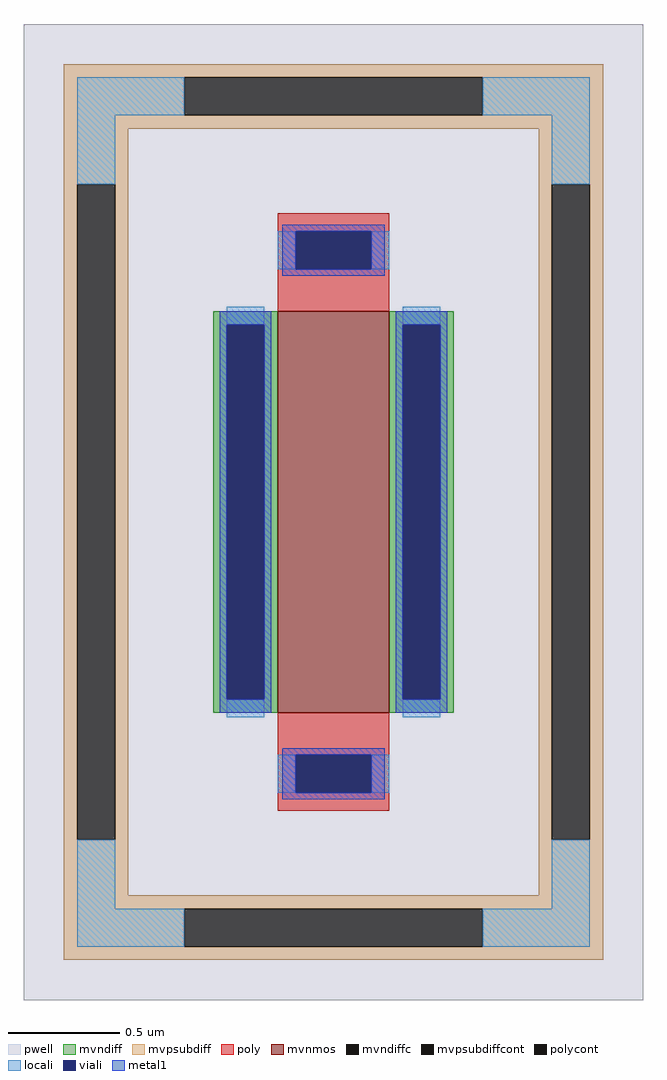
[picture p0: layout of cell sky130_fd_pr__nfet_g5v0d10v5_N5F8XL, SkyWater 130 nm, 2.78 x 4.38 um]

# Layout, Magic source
magic
tech sky130A
<< pwell >>
rect -139 -219 139 219
<< mvnmos >>
rect -25 -90 25 90
<< mvndiff >>
rect -54 84 -25 90
rect -54 -84 -48 84
rect -31 -84 -25 84
rect -54 -90 -25 -84
rect 25 84 54 90
rect 25 -84 31 84
rect 48 -84 54 84
rect 25 -90 54 -84
<< mvndiffc >>
rect -48 -84 -31 84
rect 31 -84 48 84
<< mvpsubdiff >>
rect -121 195 121 201
rect -121 178 -67 195
rect 67 178 121 195
rect -121 172 121 178
rect -121 147 -92 172
rect -121 -147 -115 147
rect -98 -147 -92 147
rect 92 147 121 172
rect -121 -172 -92 -147
rect 92 -147 98 147
rect 115 -147 121 147
rect 92 -172 121 -147
rect -121 -178 121 -172
rect -121 -195 -67 -178
rect 67 -195 121 -178
rect -121 -201 121 -195
<< mvpsubdiffcont >>
rect -67 178 67 195
rect -115 -147 -98 147
rect 98 -147 115 147
rect -67 -195 67 -178
<< poly >>
rect -25 126 25 134
rect -25 109 -17 126
rect 17 109 25 126
rect -25 90 25 109
rect -25 -109 25 -90
rect -25 -126 -17 -109
rect 17 -126 25 -109
rect -25 -134 25 -126
<< polycont >>
rect -17 109 17 126
rect -17 -126 17 -109
<< locali >>
rect -115 178 -67 195
rect 67 178 115 195
rect -115 147 -98 178
rect 98 147 115 178
rect -25 109 -17 126
rect 17 109 25 126
rect -48 84 -31 92
rect -48 -92 -31 -84
rect 31 84 48 92
rect 31 -92 48 -84
rect -25 -126 -17 -109
rect 17 -126 25 -109
rect -115 -178 -98 -147
rect 98 -178 115 -147
rect -115 -195 -67 -178
rect 67 -195 115 -178
<< viali >>
rect -17 109 17 126
rect -48 -84 -31 84
rect 31 -84 48 84
rect -17 -126 17 -109
<< metal1 >>
rect -23 126 23 129
rect -23 109 -17 126
rect 17 109 23 126
rect -23 106 23 109
rect -51 84 -28 90
rect -51 -84 -48 84
rect -31 -84 -28 84
rect -51 -90 -28 -84
rect 28 84 51 90
rect 28 -84 31 84
rect 48 -84 51 84
rect 28 -90 51 -84
rect -23 -109 23 -106
rect -23 -126 -17 -109
rect 17 -126 23 -109
rect -23 -129 23 -126
<< properties >>
string FIXED_BBOX -106 -186 106 186
string gencell sky130_fd_pr__nfet_g5v0d10v5
string library sky130
string parameters w 1.8 l 0.5 m 1 nf 1 diffcov 100 polycov 100 guard 1 glc 1 grc 1 gtc 1 gbc 1 tbcov 100 rlcov 100 topc 1 botc 1 poverlap 0 doverlap 1 lmin 0.50 wmin 0.42 compatible {sky130_fd_pr__nfet_01v8 sky130_fd_pr__nfet_01v8_lvt  sky130_fd_bs_flash__special_sonosfet_star  sky130_fd_pr__nfet_g5v0d10v5 sky130_fd_pr__nfet_05v0_nvt  sky130_fd_pr__nfet_03v3_nvt} full_metal 1 viasrc 100 viadrn 100 viagate 100 viagb 0 viagr 0 viagl 0 viagt 0
<< end >>
